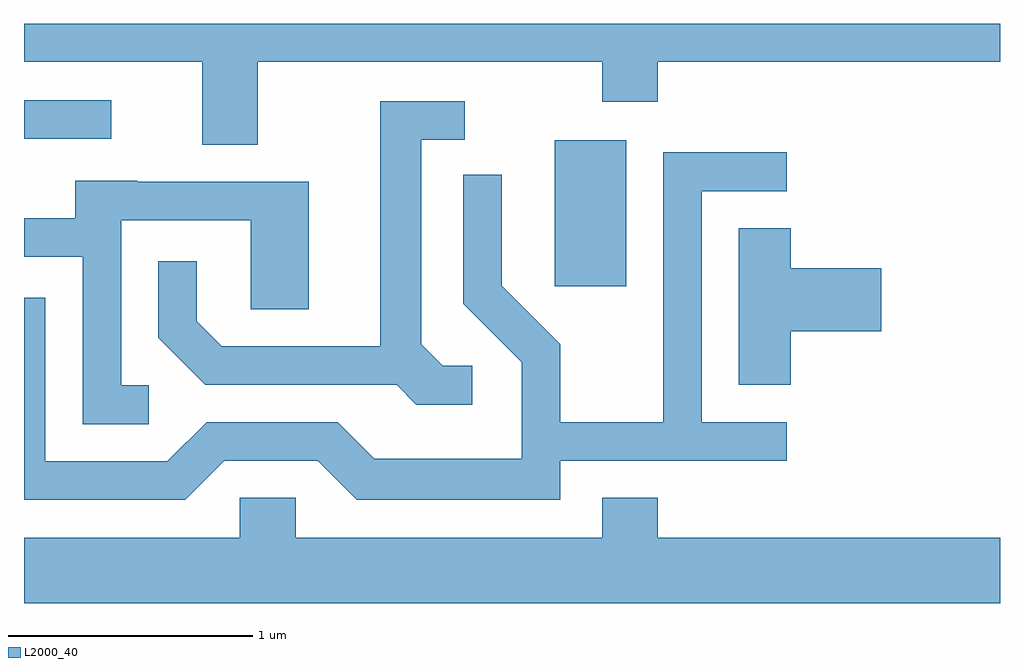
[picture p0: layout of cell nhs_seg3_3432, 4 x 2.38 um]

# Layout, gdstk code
import gdstk
lib = gdstk.Library(unit=1e-6, precision=1e-09)
def R(c, l, rs):  # rectangles x0, y0, x1, y1
    for r in rs: c.add(gdstk.rectangle(r[:2], r[2:], *l))
def P(c, l, *ps):  # polygons
    for p in ps: c.add(gdstk.Polygon(p, *l))
L2000_40 = (2000, 40)

nhs_seg3_3432 = lib.new_cell('nhs_seg3_3432')
R(nhs_seg3_3432, L2000_40, [(287.786,1182.816,288.079,1183.414), (285.611,1183.421,285.968,1183.579)])
P(nhs_seg3_3432, L2000_40, [(286.569,1183.736),(287.981,1183.736),(287.981,1183.571),(288.209,1183.571),(288.209,1183.736),(289.611,1183.736),(289.611,1183.892),(285.611,1183.892),(285.611,1183.736),(286.341,1183.736),(286.341,1183.396),(286.569,1183.396)],
  [(287.448,1182.489),(287.327,1182.489),(287.239,1182.577),(287.239,1183.416),(287.418,1183.416),(287.418,1183.574),(287.071,1183.574),(287.071,1182.569),(286.422,1182.569),(286.319,1182.672),(286.319,1182.918),(286.161,1182.918),(286.161,1182.604),(286.354,1182.411),(287.139,1182.411),(287.219,1182.331),(287.448,1182.331)],
  [(286.432,1182.101),(286.814,1182.101),(286.974,1181.941),(287.809,1181.941),(287.809,1182.101),(288.738,1182.101),(288.738,1182.259),(288.389,1182.259),(288.389,1183.206),(288.738,1183.206),(288.738,1183.364),(288.231,1183.364),(288.231,1182.259),(287.809,1182.259),(287.809,1182.577),(287.569,1182.817),(287.569,1183.273),(287.411,1183.273),(287.411,1182.744),(287.651,1182.504),(287.651,1182.109),(287.047,1182.109),(286.897,1182.259),(286.359,1182.259),(286.199,1182.099),(285.699,1182.099),(285.699,1182.769),(285.611,1182.769),(285.611,1181.941),(286.272,1181.941)],
  [(286.123,1182.409),(286.009,1182.409),(286.009,1183.086),(286.541,1183.086),(286.541,1182.721),(286.779,1182.721),(286.779,1183.244),(286.075,1183.244),(286.075,1183.249),(285.821,1183.249),(285.821,1183.094),(285.611,1183.094),(285.611,1182.936),(285.851,1182.936),(285.851,1182.251),(286.123,1182.251)],
  [(288.754,1182.631),(289.124,1182.631),(289.124,1182.889),(288.754,1182.889),(288.754,1183.054),(288.541,1183.054),(288.541,1182.411),(288.754,1182.411)],
  [(289.611,1181.784),(288.209,1181.784),(288.209,1181.949),(287.981,1181.949),(287.981,1181.784),(286.724,1181.784),(286.724,1181.949),(286.496,1181.949),(286.496,1181.784),(285.611,1181.784),(285.611,1181.516),(289.611,1181.516)])

lib.write_gds('nhs_seg3_3432.gds')
